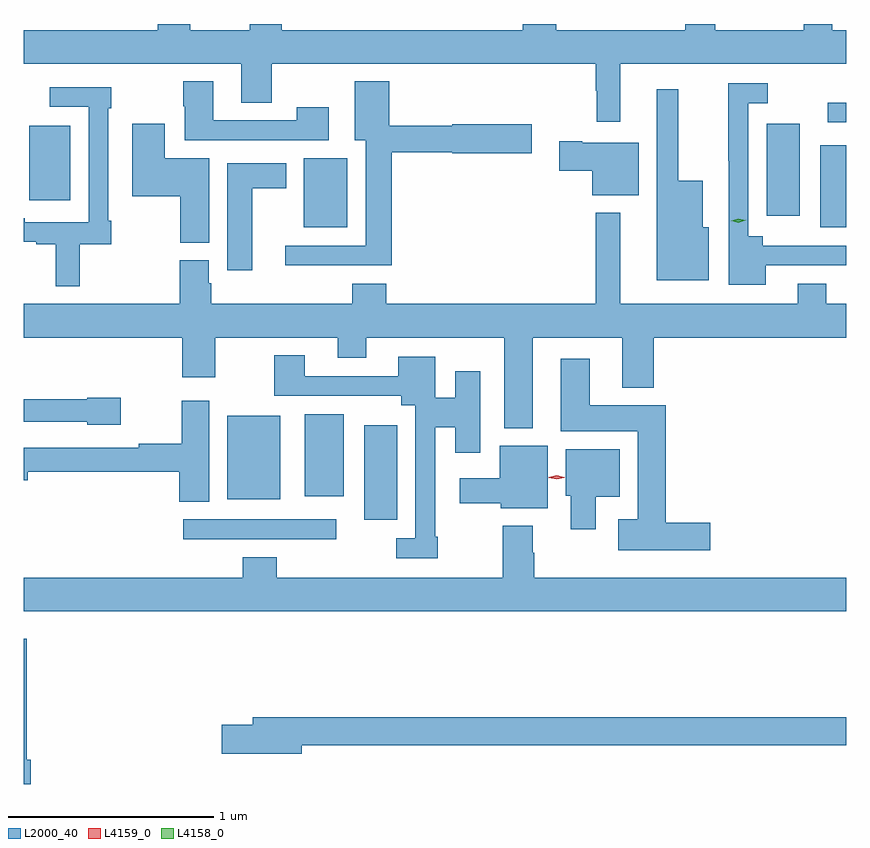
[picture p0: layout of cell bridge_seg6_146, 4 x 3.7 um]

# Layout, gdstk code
import gdstk
lib = gdstk.Library(unit=1e-6, precision=1e-09)
def R(c, l, rs):  # rectangles x0, y0, x1, y1
    for r in rs: c.add(gdstk.rectangle(r[:2], r[2:], *l))
def P(c, l, *ps):  # polygons
    for p in ps: c.add(gdstk.Polygon(p, *l))
L2000_40 = (2000, 40)
L4158_0 = (4158, 0)
L4159_0 = (4159, 0)

bridge_seg6_146 = lib.new_cell('bridge_seg6_146')
R(bridge_seg6_146, L2000_40, [(586.947,961.008,587.692,961.104), (587.828,961.103,587.989,961.561), (587.162,961.202,587.419,961.609), (587.54,961.217,587.728,961.615), (587.534,962.525,587.746,962.86), (590.048,962.525,590.173,962.923), (589.787,962.58,589.948,963.028), (586.199,962.657,586.399,963.019), (590.085,963.036,590.173,963.132)])
P(bridge_seg6_146, L2000_40, [(589.075,963.32),(590.173,963.32),(590.173,963.484),(590.107,963.484),(590.107,963.514),(589.967,963.514),(589.967,963.484),(589.537,963.484),(589.537,963.514),(589.39,963.514),(589.39,963.484),(588.764,963.484),(588.764,963.514),(588.599,963.514),(588.599,963.484),(587.427,963.484),(587.427,963.514),(587.272,963.514),(587.272,963.484),(586.983,963.484),(586.983,963.514),(586.823,963.514),(586.823,963.484),(586.173,963.484),(586.173,963.32),(587.231,963.32),(587.231,963.13),(587.379,963.13),(587.379,963.32),(588.954,963.32),(588.954,963.188),(588.961,963.188),(588.961,963.039),(589.075,963.039)],
  [(587.963,962.89),(588.258,962.89),(588.258,962.885),(588.643,962.885),(588.643,963.027),(588.258,963.027),(588.258,963.019),(587.95,963.019),(587.95,963.235),(587.783,963.235),(587.783,962.948),(587.837,962.948),(587.837,962.436),(587.445,962.436),(587.445,962.339),(587.963,962.339)],
  [(587.656,963.109),(587.5,963.109),(587.5,963.045),(587.095,963.045),(587.095,963.235),(586.948,963.235),(586.948,963.115),(586.955,963.115),(586.955,962.949),(587.656,962.949)],
  [(589.783,962.34),(590.173,962.34),(590.173,962.436),(589.768,962.436),(589.768,962.482),(589.698,962.482),(589.698,963.129),(589.792,963.129),(589.792,963.225),(589.6,963.225),(589.6,962.848),(589.602,962.848),(589.602,962.246),(589.783,962.246)],
  [(586.445,962.442),(586.597,962.442),(586.597,962.557),(586.584,962.557),(586.584,963.104),(586.597,963.104),(586.597,963.207),(586.299,963.207),(586.299,963.111),(586.488,963.111),(586.488,962.55),(586.177,962.55),(586.177,962.57),(586.173,962.57),(586.173,962.454),(586.232,962.454),(586.232,962.442),(586.328,962.442),(586.328,962.237),(586.445,962.237)],
  [(589.504,962.526),(589.477,962.526),(589.477,962.752),(589.357,962.752),(589.357,963.196),(589.253,963.196),(589.253,962.267),(589.504,962.267)],
  [(587.074,962.86),(586.858,962.86),(586.858,963.028),(586.7,963.028),(586.7,962.675),(586.933,962.675),(586.933,962.449),(587.074,962.449)],
  [(589.165,962.935),(588.889,962.935),(588.889,962.943),(588.777,962.943),(588.777,962.801),(588.938,962.801),(588.938,962.681),(589.165,962.681)],
  [(587.284,962.714),(587.449,962.714),(587.449,962.836),(587.162,962.836),(587.162,962.316),(587.284,962.316)],
  [(588.649,961.988),(589.085,961.988),(589.085,961.745),(589.238,961.745),(589.238,961.988),(590.173,961.988),(590.173,962.152),(590.077,962.152),(590.077,962.251),(589.937,962.251),(589.937,962.152),(589.075,962.152),(589.075,962.596),(588.954,962.596),(588.954,962.152),(587.936,962.152),(587.936,962.251),(587.771,962.251),(587.771,962.152),(587.084,962.152),(587.084,962.253),(587.071,962.253),(587.071,962.364),(586.931,962.364),(586.931,962.152),(586.173,962.152),(586.173,961.988),(586.943,961.988),(586.943,961.794),(587.103,961.794),(587.103,961.988),(587.699,961.988),(587.699,961.889),(587.839,961.889),(587.839,961.988),(588.509,961.988),(588.509,961.547),(588.649,961.547)],
  [(588.187,961.018),(588.174,961.018),(588.174,961.553),(588.272,961.553),(588.272,961.428),(588.394,961.428),(588.394,961.825),(588.272,961.825),(588.272,961.695),(588.175,961.695),(588.175,961.894),(587.993,961.894),(587.993,961.8),(587.539,961.8),(587.539,961.903),(587.392,961.903),(587.392,961.704),(588.008,961.704),(588.008,961.658),(588.078,961.658),(588.078,961.011),(587.985,961.011),(587.985,960.915),(588.187,960.915)],
  [(589.513,961.088),(589.295,961.088),(589.295,961.66),(588.925,961.66),(588.925,961.885),(588.785,961.885),(588.785,961.532),(589.16,961.532),(589.16,961.105),(589.065,961.105),(589.065,960.953),(589.513,960.953)],
  [(586.645,961.695),(586.482,961.695),(586.482,961.687),(586.173,961.687),(586.173,961.578),(586.482,961.578),(586.482,961.565),(586.645,961.565)],
  [(587.074,961.681),(586.94,961.681),(586.94,961.472),(586.732,961.472),(586.732,961.452),(586.173,961.452),(586.173,961.294),(586.192,961.294),(586.192,961.336),(586.928,961.336),(586.928,961.189),(587.074,961.189)],
  [(588.721,961.462),(588.488,961.462),(588.488,961.303),(588.294,961.303),(588.294,961.181),(588.492,961.181),(588.492,961.157),(588.721,961.157)],
  [(588.955,961.214),(589.072,961.214),(589.072,961.444),(588.809,961.444),(588.809,961.218),(588.833,961.218),(588.833,961.056),(588.955,961.056)],
  [(590.173,960.82),(588.657,960.82),(588.657,960.941),(588.649,960.941),(588.649,961.072),(588.502,961.072),(588.502,960.82),(587.402,960.82),(587.402,960.919),(587.237,960.919),(587.237,960.82),(586.173,960.82),(586.173,960.656),(590.173,960.656)],
  [(586.205,959.934),(586.187,959.934),(586.187,960.523),(586.173,960.523),(586.173,959.816),(586.205,959.816)],
  [(587.524,960.004),(590.173,960.004),(590.173,960.14),(587.285,960.14),(587.285,960.104),(587.136,960.104),(587.136,959.962),(587.524,959.962)])
P(bridge_seg6_146, L4158_0, [(589.649,962.547),(589.614,962.556),(589.614,962.556),(589.614,962.556),(589.649,962.567),(589.684,962.559),(589.684,962.558),(589.684,962.558)])
P(bridge_seg6_146, L4159_0, [(588.765,961.298),(588.727,961.307),(588.727,961.308),(588.727,961.308),(588.765,961.318),(588.803,961.308),(588.804,961.308),(588.803,961.307)])

lib.write_gds('bridge_seg6_146.gds')
